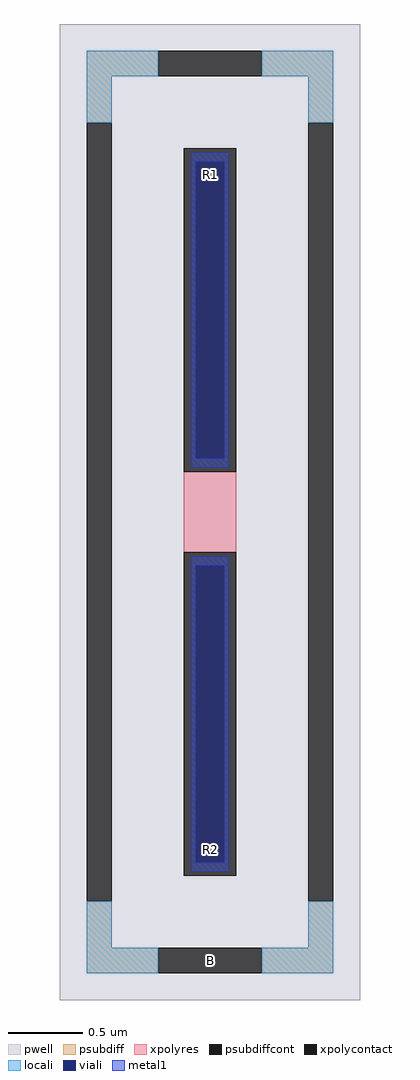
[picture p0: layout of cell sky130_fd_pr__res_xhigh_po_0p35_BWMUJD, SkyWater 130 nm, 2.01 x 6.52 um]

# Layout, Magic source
magic
tech sky130A
magscale 1 2
<< pwell >>
rect -201 -652 201 652
<< psubdiff >>
rect -165 582 -69 616
rect 69 582 165 616
rect -165 520 -131 582
rect 131 520 165 582
rect -165 -582 -131 -520
rect 131 -582 165 -520
rect -165 -616 -69 -582
rect 69 -616 165 -582
<< psubdiffcont >>
rect -69 582 69 616
rect -165 -520 -131 520
rect 131 -520 165 520
rect -69 -616 69 -582
<< xpolycontact >>
rect -35 54 35 486
rect -35 -486 35 -54
<< xpolyres >>
rect -35 -54 35 54
<< locali >>
rect -165 582 -69 616
rect 69 582 165 616
rect -165 520 -131 582
rect 131 520 165 582
rect -165 -582 -131 -520
rect 131 -582 165 -520
rect -165 -616 -69 -582
rect 69 -616 165 -582
<< viali >>
rect -19 71 19 468
rect -19 -468 19 -71
<< metal1 >>
rect -25 468 25 480
rect -25 71 -19 468
rect 19 71 25 468
rect -25 59 25 71
rect -25 -71 25 -59
rect -25 -468 -19 -71
rect 19 -468 25 -71
rect -25 -480 25 -468
<< labels >>
rlabel psubdiffcont 0 -599 0 -599 0 B
port 1 nsew
rlabel xpolycontact 0 451 0 451 0 R1
port 2 nsew
rlabel xpolycontact 0 -451 0 -451 0 R2
port 3 nsew
<< properties >>
string FIXED_BBOX -148 -599 148 599
string gencell sky130_fd_pr__res_xhigh_po_0p35
string library sky130
string parameters w 0.350 l 0.700 m 1 nx 1 wmin 0.350 lmin 0.50 class resistor rho 2000 val 5.075k dummy 0 dw 0.0 term 188.2 sterm 0.0 caplen 0 wmax 0.350 guard 1 glc 1 grc 1 gtc 1 gbc 1 compatible {sky130_fd_pr__res_xhigh_po_0p35  sky130_fd_pr__res_xhigh_po_0p69 sky130_fd_pr__res_xhigh_po_1p41  sky130_fd_pr__res_xhigh_po_2p85 sky130_fd_pr__res_xhigh_po_5p73} snake 0 full_metal 1 n_guard 0 hv_guard 0 vias 1 viagb 0 viagt 0 viagl 0 viagr 0 doports 1
<< end >>
